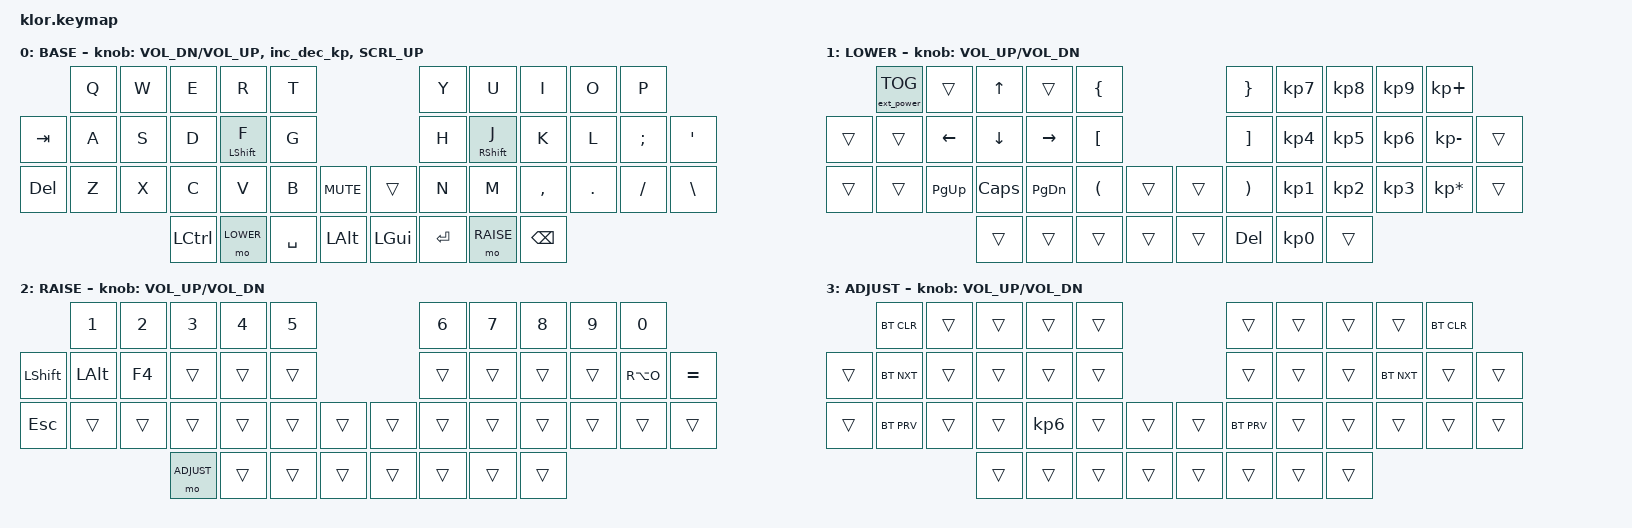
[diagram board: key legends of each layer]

//                               █         █    █            ▄▄▄▀▀▀▀▀▀▄▄▄        █▀▀▀▀▀▀▀▀▀▀█
//                               █        █     █          ▄▀            ▀▄      █          █
//                               █       █      █        ▄▀                ▀▄    █          █
//                               █      █       █        █                  █    █          █
//                               █     █        █       █                    █   █          █
//                               █    █         █       █                    █   █▄▄▄▄▄▄▄▄▄▄█
//                               █   █ █        █       █                    █   █      █
//                               █  █   █       █        █                  █    █       █
//                               █ █     █      █        ▀▄                ▄▀    █        █
//                               ██       █     █          ▀▄            ▄▀      █         █
//                               █         █    █▄▄▄▄▄▄▄▄    ▀▀▀▄▄▄▄▄▄▀▀▀        █          █
//
// ▄▄▄▄▄▄▄▄▄▄▄▄▄▄▄▄▄▄▄▄▄▄▄▄▄▄▄▄▄▄▄▄▄▄▄▄▄▄▄▄▄▄▄▄▄▄▄▄▄▄▄▄▄▄▄▄▄▄▄▄▄▄▄▄▄▄▄▄▄▄▄▄▄▄▄▄▄▄▄▄▄▄▄▄▄▄▄▄▄▄▄▄▄▄▄▄▄▄▄▄▄▄▄▄▄▄▄▄▄▄▄▄▄▄▄▄▄▄▄▄▄▄▄▄▄
       
#include <behaviors.dtsi>
#include <dt-bindings/zmk/keys.h>
#include <dt-bindings/zmk/bt.h>
#include <dt-bindings/zmk/outputs.h>
#include <dt-bindings/zmk/ext_power.h>

#define BASE   0
#define LOWER  1
#define RAISE  2
#define ADJUST 3


/ {
    behaviors {
        hm: homerow_mods {
            compatible = "zmk,behavior-hold-tap";
            label = "HOMEROW_MODS";
            #binding-cells = <2>;
            tapping-term-ms = <150>;
            quick_tap_ms = <0>;
            flavor = "tap-preferred";
            bindings = <&kp>, <&kp>;
        };

    };

     combos {
            compatible = "zmk,combos";
            combo_esc {
                timeout-ms = <50>;
                key-positions = <0 1>;
                bindings = <&kp ESC>;
            };
    };



        keymap {
                compatible = "zmk,keymap";
// ▄▄▄▄▄▄▄▄▄▄▄▄▄▄▄▄▄▄▄▄▄▄▄▄▄▄▄▄▄▄▄▄▄▄▄▄▄▄▄▄▄▄▄▄▄▄▄▄▄▄▄▄▄▄▄▄▄▄▄▄▄▄▄▄▄▄▄▄▄▄▄▄▄▄▄▄▄▄▄▄▄▄▄▄▄▄▄▄▄▄▄▄▄▄▄▄▄▄▄▄▄▄▄▄▄▄▄▄▄▄▄▄▄▄▄▄▄▄▄▄▄▄▄▄▄▄▄▄▄▄▄▄▄▄▄▄▄▄▄▄▄▄


                base_layer {
// ┌───────────────────────────────────────────────────────────┐
label= "BASE"                                                  ;
// └───────────────────────────────────────────────────────────┘
/*           ┌─────────┬─────────┬─────────┬─────────┬─────────┐                    ┌─────────┬─────────┬─────────┬─────────┬─────────┐
             │    Q    │    W    │    E    │    R    │    T    │                    │    Y    │    U    │    I    │    O    │    P    │   
   ┌─────────┼─────────┼─────────┼─────────┼─────────┼─────────┤                    ├─────────┼─────────┼─────────┼─────────┼─────────┼─────────┐
   │   TAB   │    A    │    S    │    D    │    F    │    G    │                    │    H    │    J    │    K    │    L    │    ;    │    "    │
   ├─────────┼─────────┼─────────┼─────────┼─────────┼─────────┤╭────────╮╭────────╮├─────────┼─────────┼─────────┼─────────┼─────────┼─────────┤
   │   DEL   │    Z    │    X    │    C    │    V    │    B    ││  MUTE  ││PLY/PSE ││    N    │    M    │    ,    │    .    │    /    │    \    │
   └─────────┴─────────┴─────────┼─────────┼─────────┼─────────┼╰────────╯╰────────╯┼─────────┼─────────┼─────────┼─────────┴─────────┴─────────┘
                                 │  CTRL   │  LOWER  │  SPACE  │   ALT   ││ CMD/WIN │  ENTER  │  RAISE  │  BSPCE  │  
                                 └─────────┴─────────┴─────────┴─────────┘└─────────┴─────────┴─────────┴─────────┘ */ 
 bindings = <
 //╷         ╷         ╷         ╷         ╷         ╷         ╷         ╷╷         ╷         ╷         ╷         ╷         ╷         ╷         ╷
              &kp Q     &kp W     &kp E     &kp R     &kp T                          &kp Y     &kp U     &kp I     &kp O     &kp P
    &kp TAB   &kp A     &kp S     &kp D   &hm LSHFT F &kp G                          &kp H   &hm RSHFT J &kp K     &kp L     &kp SEMI     &kp SQT
    &kp DEL   &kp Z     &kp X     &kp C     &kp V     &kp B     &kp C_MUTE     &trans    &kp N     &kp M     &kp COMMA &kp DOT   &kp FSLH  &kp BSLH
                                  &kp LCTRL &mo LOWER &kp SPACE &kp LALT   &kp LGUI  &kp RET   &mo RAISE &kp BSPC    
                        >;
            sensor-bindings = <&inc_dec_kp C_VOL_DN C_VOL_UP &inc_dec_kp &msc_SCRL_DOWN SCRL_UP>;
                };

// ▄▄▄▄▄▄▄▄▄▄▄▄▄▄▄▄▄▄▄▄▄▄▄▄▄▄▄▄▄▄▄▄▄▄▄▄▄▄▄▄▄▄▄▄▄▄▄▄▄▄▄▄▄▄▄▄▄▄▄▄▄▄▄▄▄▄▄▄▄▄▄▄▄▄▄▄▄▄▄▄▄▄▄▄▄▄▄▄▄▄▄▄▄▄▄▄▄▄▄▄▄▄▄▄▄▄▄▄▄▄▄▄▄▄▄▄▄▄▄▄▄▄▄▄▄▄▄▄▄▄▄▄▄▄▄▄▄▄▄▄▄▄


                lower_layer {
// ┌───────────────────────────────────────────────────────────┐
label= "LOWER"                                                 ;
// └───────────────────────────────────────────────────────────┘
/*           ┌─────────┬─────────┬─────────┬─────────┬─────────┐                    ┌─────────┬─────────┬─────────┬─────────┬─────────┐
             │         │         │    UP   │         │    {    │                    │    }    │    7    │    8    │    9    │    +    │
   ┌─────────┼─────────┼─────────┼─────────┼─────────┼─────────┤                    ├─────────┼─────────┼─────────┼─────────┼─────────┼─────────┐
   │         │         │   LEFT  │  DOWN   │  RIGHT  │    [    │                    │    ]    │    4    │    5    │    6    │    -    │         │
   ├─────────┼─────────┼─────────┼─────────┼─────────┼─────────┤╭────────╮╭────────╮├─────────┼─────────┼─────────┼─────────┼─────────┼─────────┤
   │         │         │   P UP  │ C LOCK  │ P DOWN  │    (    ││        ││        ││    )    │    1    │    2    │    3    │    *    │         │
   └─────────┴─────────┴─────────┼─────────┼─────────┼─────────┼╰────────╯╰────────╯┼─────────┼─────────┼─────────┼─────────┴─────────┴─────────┘
                                 │         │         │         │         ││         │         │    0    │         │  
                                 └─────────┴─────────┴─────────┴─────────┘└─────────┴─────────┴─────────┴─────────┘ */ 
 bindings = <
 //╷         ╷         ╷         ╷         ╷         ╷         ╷         ╷╷         ╷         ╷         ╷         ╷         ╷         ╷         ╷
    &ext_power EP_TOG   &trans    &kp UP    &trans    &kp LBRC                       &kp RBRC  &kp KP_N7 &kp KP_N8 &kp KP_N9 &kp KP_PLUS
    &trans    &trans    &kp LEFT  &kp DOWN  &kp RIGHT &kp LBKT                       &kp RBKT  &kp KP_N4 &kp KP_N5 &kp KP_N6 &kp KP_MINUS &trans
    &trans    &trans    &kp PG_UP &kp CAPS  &kp PG_DN &kp LPAR  &trans     &trans    &kp RPAR  &kp KP_N1 &kp KP_N2 &kp KP_N3 &kp KP_MULTIPLY &trans
                                  &trans    &trans    &trans    &trans     &trans    &kp DELETE &kp KP_N0 &trans  
                        >;
            sensor-bindings = <&inc_dec_kp C_VOL_UP C_VOL_DN>;
                };

// ▄▄▄▄▄▄▄▄▄▄▄▄▄▄▄▄▄▄▄▄▄▄▄▄▄▄▄▄▄▄▄▄▄▄▄▄▄▄▄▄▄▄▄▄▄▄▄▄▄▄▄▄▄▄▄▄▄▄▄▄▄▄▄▄▄▄▄▄▄▄▄▄▄▄▄▄▄▄▄▄▄▄▄▄▄▄▄▄▄▄▄▄▄▄▄▄▄▄▄▄▄▄▄▄▄▄▄▄▄▄▄▄▄▄▄▄▄▄▄▄▄▄▄▄▄


                raise_layer {
// ┌───────────────────────────────────────────────────────────┐
label= "RAISE"                                                 ;
// └───────────────────────────────────────────────────────────┘
/*           ┌─────────┬─────────┬─────────┬─────────┬─────────┐                    ┌─────────┬─────────┬─────────┬─────────┬─────────┐
             │    1    │    2    │    3    │    4    │    5    │                    │    6    │    7    │    8    │    9    │    0    │
   ┌─────────┼─────────┼─────────┼─────────┼─────────┼─────────┤                    ├─────────┼─────────┼─────────┼─────────┼─────────┼─────────┐
   │   LS    │   LA    │    F4   │         │         │         │                    │         │         │         │         │    Ö    │    =    │
   ├─────────┼─────────┼─────────┼─────────┼─────────┼─────────┤╭────────╮╭────────╮├─────────┼─────────┼─────────┼─────────┼─────────┼─────────┤
   │   ESC   │         │         │         │         │         ││        ││        ││         │         │         │         │         │         │
   └─────────┴─────────┴─────────┼─────────┼─────────┼─────────┼╰────────╯╰────────╯┼─────────┼─────────┼─────────┼─────────┴─────────┴─────────┘
                                 │ ADJUST  │         │         │         ││         │         │         │         │  
                                 └─────────┴─────────┴─────────┴─────────┘└─────────┴─────────┴─────────┴─────────┘ */ 
 bindings = <
 //╷         ╷         ╷         ╷         ╷         ╷         ╷         ╷╷         ╷         ╷         ╷         ╷         ╷         ╷         ╷
              &kp N1    &kp N2   &kp N3     &kp N4     &kp N5                          &kp N6     &kp N7     &kp N8     &kp N9     &kp N0     
    &kp LSHFT   &kp LALT  &kp F4 &trans    &trans    &trans                         &trans    &trans    &trans    &trans    &kp RA(O) &kp EQUAL  
    &kp ESC    &trans    &trans    &trans    &trans    &trans    &trans     &trans    &trans    &trans    &trans    &trans    &trans    &trans
                                  &mo ADJUST &trans   &trans    &trans     &trans    &trans    &trans    &trans  
                        >;
                sensor-bindings = <&inc_dec_kp C_VOL_UP C_VOL_DN>;
                };

// ▄▄▄▄▄▄▄▄▄▄▄▄▄▄▄▄▄▄▄▄▄▄▄▄▄▄▄▄▄▄▄▄▄▄▄▄▄▄▄▄▄▄▄▄▄▄▄▄▄▄▄▄▄▄▄▄▄▄▄▄▄▄▄▄▄▄▄▄▄▄▄▄▄▄▄▄▄▄▄▄▄▄▄▄▄▄▄▄▄▄▄▄▄▄▄▄▄▄▄▄▄▄▄▄▄▄▄▄▄▄▄▄▄▄▄▄▄▄▄▄▄▄▄▄▄


                adjust_layer {
// ┌───────────────────────────────────────────────────────────┐
label= "ADJUST"                                                ;
// └───────────────────────────────────────────────────────────┘
/*           ┌─────────┬─────────┬─────────┬─────────┬─────────┐                    ┌─────────┬─────────┬─────────┬─────────┬─────────┐
             │         │         │         │         │         │                    │         │         │         │         │         │
   ┌─────────┼─────────┼─────────┼─────────┼─────────┼─────────┤                    ├─────────┼─────────┼─────────┼─────────┼─────────┼─────────┐
   │         │         │         │         │         │         │                    │         │         │         │         │         │         │
   ├─────────┼─────────┼─────────┼─────────┼─────────┼─────────┤╭────────╮╭────────╮├─────────┼─────────┼─────────┼─────────┼─────────┼─────────┤
   │         │         │         │         │         │         ││        ││        ││         │         │         │         │         │         │
   └─────────┴─────────┴─────────┼─────────┼─────────┼─────────┼╰────────╯╰────────╯┼─────────┼─────────┼─────────┼─────────┴─────────┴─────────┘
                                 │         │         │         │         ││         │         │         │         │  
                                 └─────────┴─────────┴─────────┴─────────┘└─────────┴─────────┴─────────┴─────────┘ */ 
 bindings = <
 //╷         ╷         ╷         ╷         ╷         ╷         ╷         ╷╷         ╷         ╷         ╷         ╷         ╷         ╷         ╷
             &bt BT_CLR &trans    &trans    &trans    &trans                         &trans    &trans    &trans    &trans    &bt BT_CLR   
    &trans   &bt BT_NXT &trans    &trans    &trans    &trans                         &trans    &trans    &trans    &bt BT_NXT &trans   &trans 
    &trans   &bt BT_PRV &trans    &trans    &kp KP_N6 &trans    &trans     &trans    &bt BT_PRV &trans   &trans    &trans    &trans    &trans    
                                  &trans    &trans    &trans    &trans     &trans    &trans    &trans    &trans    
                        >;
            sensor-bindings = <&inc_dec_kp C_VOL_UP C_VOL_DN>;
                };
        };
};
